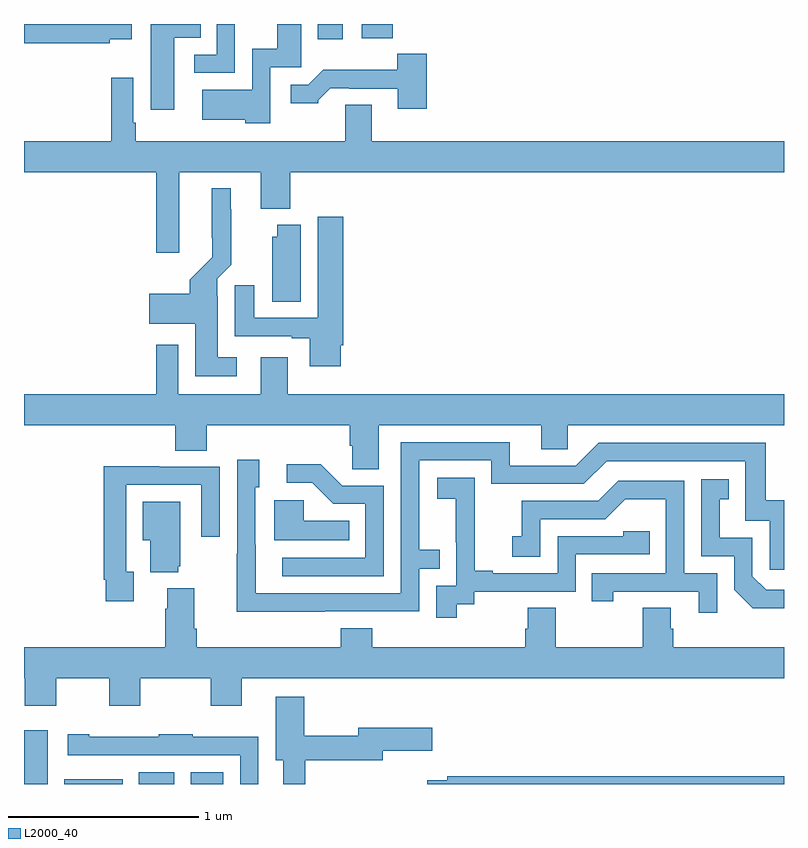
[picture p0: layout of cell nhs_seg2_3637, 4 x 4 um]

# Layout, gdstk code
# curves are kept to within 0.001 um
import gdstk
lib = gdstk.Library(unit=1e-6, precision=1e-09)
def R(c, l, rs):  # rectangles x0, y0, x1, y1
    for r in rs: c.add(gdstk.rectangle(r[:2], r[2:], *l))
def P(c, l, *ps):  # polygons
    for p in ps: c.add(gdstk.Polygon(p, *l))
L2000_40 = (2000, 40)

nhs_seg2_3637 = lib.new_cell('nhs_seg2_3637')
R(nhs_seg2_3637, L2000_40, [(303,593.8,303.124,594.082), (303.212,593.8,303.52,593.824), (303.605,593.8,303.79,593.863), (303.878,593.8,304.048,593.863), (304.547,597.72,304.678,597.8), (304.778,597.725,304.94,597.8)])
P(nhs_seg2_3637, L2000_40, [(303.79,597.728),(303.929,597.728),(303.929,597.8),(303.668,597.8),(303.668,597.348),(303.79,597.348)],
  [(303.452,597.719),(303.568,597.719),(303.568,597.8),(303,597.8),(303,597.7),(303.452,597.7)],
  [(304.296,597.573),(304.459,597.573),(304.459,597.8),(304.334,597.8),(304.334,597.67),(304.2,597.67),(304.2,597.454),(303.939,597.454),(303.939,597.296),(304.164,597.296),(304.164,597.278),(304.296,597.278)],
  [(304.11,597.8),(304.014,597.8),(304.014,597.639),(303.897,597.639),(303.897,597.543),(304.11,597.543)],
  [(305.12,597.643),(304.965,597.643),(304.965,597.559),(304.576,597.559),(304.497,597.48),(304.404,597.48),(304.404,597.383),(304.548,597.383),(304.548,597.398),(304.612,597.462),(304.711,597.462),(304.711,597.459),(304.967,597.459),(304.967,597.354),(305.12,597.354)],
  [(303.817,597.02),(304.247,597.02),(304.247,596.828),(304.4,596.828),(304.4,597.02),(307,597.02),(307,597.184),(304.831,597.184),(304.831,597.374),(304.691,597.374),(304.691,597.184),(303.589,597.184),(303.589,597.28),(303.576,597.28),(303.576,597.517),(303.46,597.517),(303.46,597.184),(303,597.184),(303,597.02),(303.695,597.02),(303.695,596.595),(303.817,596.595)],
  [(304.12,596.047),(304.021,596.047),(304.021,596.366),(304.017,596.366),(304.017,596.46),(304.091,596.534),(304.091,596.825),(304.087,596.825),(304.087,596.935),(303.989,596.935),(303.99,596.572),(303.872,596.454),(303.872,596.38),(303.66,596.38),(303.66,596.222),(303.902,596.222),(303.902,595.946),(304.12,595.946)],
  [(304.666,596.11),(304.679,596.11),(304.679,596.785),(304.547,596.785),(304.547,596.253),(304.213,596.253),(304.213,596.425),(304.109,596.425),(304.109,596.157),(304.409,596.157),(304.409,596.145),(304.505,596.145),(304.505,595.998),(304.666,595.998)],
  [(304.456,596.743),(304.334,596.743),(304.334,596.679),(304.307,596.679),(304.307,596.338),(304.456,596.338)],
  [(304.867,595.688),(305.723,595.688),(305.723,595.561),(305.862,595.561),(305.862,595.688),(307,595.688),(307,595.852),(304.387,595.852),(304.387,596.047),(304.247,596.047),(304.247,595.852),(303.813,595.852),(303.813,596.113),(303.697,596.113),(303.697,595.852),(303,595.852),(303,595.688),(303.797,595.688),(303.797,595.555),(303.962,595.555),(303.962,595.688),(304.715,595.688),(304.715,595.579),(304.728,595.579),(304.728,595.456),(304.867,595.456)],
  [(304.583,594.708),(305.079,594.708),(305.079,594.933),(305.189,594.933),(305.189,595.034),(305.079,595.034),(305.079,595.503),(305.46,595.503),(305.46,595.38),(305.946,595.38),(306.066,595.5),(306.795,595.5),(306.795,595.185),(306.924,595.185),(306.924,594.927),(307,594.927),(307,595.294),(306.904,595.294),(306.904,595.596),(306.024,595.596),(305.904,595.476),(305.557,595.476),(305.557,595.599),(304.983,595.599),(304.983,594.804),(304.219,594.804),(304.218,595.362),(304.237,595.362),(304.237,595.507),(304.122,595.507),(304.122,595.013),(304.12,595.013),(304.12,594.707)],
  [(304.893,595.371),(304.674,595.371),(304.561,595.484),(304.383,595.484),(304.383,595.386),(304.517,595.386),(304.628,595.275),(304.797,595.275),(304.797,594.99),(304.359,594.99),(304.359,594.894),(304.893,594.894)],
  [(303.577,594.918),(303.537,594.918),(303.537,595.374),(303.933,595.374),(303.933,595.101),(304.029,595.101),(304.029,595.47),(303.713,595.47),(303.713,595.472),(303.421,595.472),(303.421,594.874),(303.429,594.874),(303.429,594.762),(303.577,594.762)],
  [(305.278,594.745),(305.37,594.745),(305.37,594.813),(305.904,594.813),(305.904,595.008),(306.293,595.008),(306.293,595.131),(306.153,595.131),(306.153,595.104),(305.808,595.104),(305.808,594.909),(305.467,594.909),(305.467,594.922),(305.372,594.922),(305.372,595.205),(305.373,595.205),(305.373,595.411),(305.175,595.411),(305.175,595.301),(305.273,595.301),(305.273,595.073),(305.274,595.073),(305.274,594.843),(305.169,594.843),(305.169,594.675),(305.278,594.675)],
  [(307,594.822),(306.906,594.822),(306.834,594.894),(306.834,595.095),(306.661,595.095),(306.661,595.299),(306.71,595.299),(306.71,595.405),(306.564,595.405),(306.564,594.999),(306.738,594.999),(306.738,594.822),(306.836,594.725),(307,594.725)],
  [(306.648,594.909),(306.474,594.909),(306.474,595.395),(306.128,595.395),(306.023,595.29),(305.62,595.29),(305.62,595.105),(305.571,595.105),(305.571,594.996),(305.718,594.996),(305.718,595.194),(306.06,595.194),(306.164,595.298),(306.378,595.298),(306.378,594.909),(305.989,594.909),(305.989,594.762),(306.1,594.762),(306.1,594.813),(306.551,594.813),(306.551,594.702),(306.648,594.702)],
  [(304.712,595.186),(304.473,595.186),(304.473,595.294),(304.316,595.294),(304.316,595.082),(304.712,595.082)],
  [(303.812,594.945),(303.823,594.945),(303.823,595.285),(303.626,595.285),(303.626,595.082),(303.665,595.082),(303.665,594.914),(303.812,594.914)],
  [(303.169,594.356),(303.449,594.356),(303.449,594.213),(303.613,594.213),(303.613,594.356),(303.983,594.356),(303.983,594.213),(304.147,594.213),(304.147,594.356),(307,594.356),(307,594.52),(306.416,594.52),(306.416,594.618),(306.403,594.618),(306.403,594.728),(306.256,594.728),(306.256,594.52),(305.799,594.52),(305.799,594.728),(305.651,594.728),(305.651,594.618),(305.639,594.618),(305.639,594.52),(304.832,594.52),(304.832,594.619),(304.667,594.619),(304.667,594.52),(303.908,594.52),(303.908,594.616),(303.895,594.616),(303.895,594.829),(303.755,594.829),(303.755,594.722),(303.743,594.722),(303.743,594.52),(303,594.52),(303,594.356),(303.005,594.356),(303.005,594.213),(303.169,594.213)],
  [(304.481,593.926),(304.888,593.926),(304.888,593.975),(305.149,593.975),(305.149,594.097),(304.76,594.097),(304.76,594.055),(304.475,594.055),(304.475,594.259),(304.325,594.259),(304.325,593.924),(304.365,593.924),(304.365,593.8),(304.481,593.8)],
  [(304.233,594.049),(303.887,594.049),(303.887,594.061),(303.709,594.061),(303.709,594.049),(303.343,594.049),(303.343,594.061),(303.231,594.061),(303.231,593.952),(304.137,593.952),(304.137,593.8),(304.233,593.8)],
  [(307,593.84),(305.227,593.84),(305.227,593.821),(305.123,593.821),(305.123,593.8),(307,593.8)])

lib.write_gds('nhs_seg2_3637.gds')
